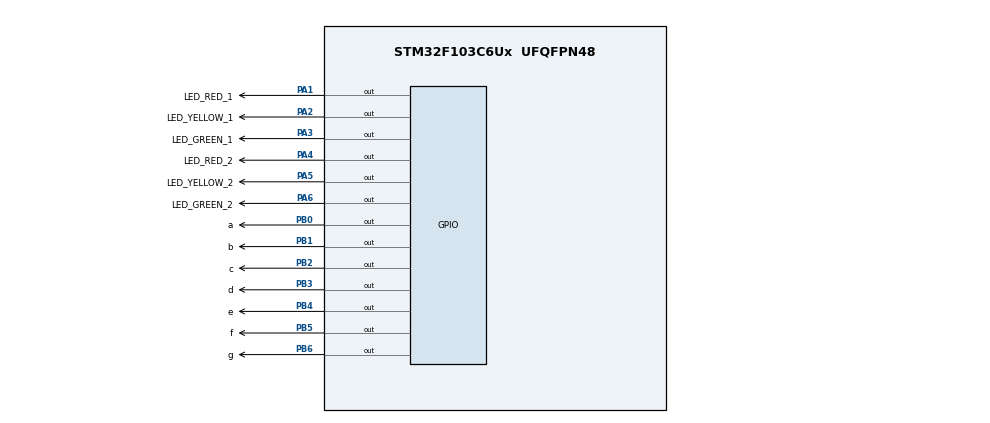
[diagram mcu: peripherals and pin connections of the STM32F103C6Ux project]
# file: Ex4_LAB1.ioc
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Mcu.Family=STM32F1
Mcu.Name=STM32F103C6Ux
Mcu.Package=UFQFPN48
NVIC.PriorityGroup=NVIC_PRIORITYGROUP_4
PA1.GPIO_Label=LED_RED_1
PA1.Signal=GPIO_Output
PA2.GPIO_Label=LED_YELLOW_1
PA2.Signal=GPIO_Output
PA3.GPIO_Label=LED_GREEN_1
PA3.Signal=GPIO_Output
PA4.GPIO_Label=LED_RED_2
PA4.Signal=GPIO_Output
PA5.GPIO_Label=LED_YELLOW_2
PA5.Signal=GPIO_Output
PA6.GPIO_Label=LED_GREEN_2
PA6.Signal=GPIO_Output
PB0.GPIO_Label=a
PB0.Signal=GPIO_Output
PB1.GPIO_Label=b
PB1.Signal=GPIO_Output
PB2.GPIO_Label=c
PB2.Signal=GPIO_Output
PB3.GPIO_Label=d
PB3.Signal=GPIO_Output
PB4.GPIO_Label=e
PB4.Signal=GPIO_Output
PB5.GPIO_Label=f
PB5.Signal=GPIO_Output
PB6.GPIO_Label=g
PB6.Signal=GPIO_Output
ProjectManager.HeapSize=0x200
ProjectManager.StackSize=0x400
ProjectManager.TargetToolchain=STM32CubeIDE
RCC.APB1Freq_Value=8000000
RCC.APB2Freq_Value=8000000
VP_SYS_VS_ND.Mode=No_Debug
board=custom

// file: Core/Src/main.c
/* USER CODE BEGIN Header */
/**
  ******************************************************************************
  * @file           : main.c
  * @brief          : Main program body
  ******************************************************************************
  * @attention
  *
  * <h2><center>&copy; Copyright (c) 2022 STMicroelectronics.
  * All rights reserved.</center></h2>
  *
  * This software component is licensed by ST under BSD 3-Clause license,
  * the "License"; You may not use this file except in compliance with the
  * License. You may obtain a copy of the License at:
  *                        opensource.org/licenses/BSD-3-Clause
  *
  ******************************************************************************
  */
/* USER CODE END Header */
#include "main.h"

/* USER CODE BEGIN PD */
#define setCounterRed 5
#define setCounterGreen 3
#define setCounterYellow 2
#define threshold 0
/* USER CODE END PD */

void SystemClock_Config(void);
static void MX_GPIO_Init(void);

/* USER CODE BEGIN 0 */
void display7SEG1 (int num){
	switch (num){
		case 0:
			HAL_GPIO_WritePin(a_GPIO_Port, a_Pin, RESET);
			HAL_GPIO_WritePin(b_GPIO_Port, b_Pin, RESET);
			HAL_GPIO_WritePin(c_GPIO_Port, c_Pin, RESET);
			HAL_GPIO_WritePin(d_GPIO_Port, d_Pin, RESET);
			HAL_GPIO_WritePin(e_GPIO_Port, e_Pin, RESET);
			HAL_GPIO_WritePin(f_GPIO_Port, f_Pin, RESET);
			HAL_GPIO_WritePin(g_GPIO_Port, g_Pin, SET);
			break;
		case 1:
			HAL_GPIO_WritePin(a_GPIO_Port, a_Pin, SET);
			HAL_GPIO_WritePin(b_GPIO_Port, b_Pin, RESET);
			HAL_GPIO_WritePin(c_GPIO_Port, c_Pin, RESET);
			HAL_GPIO_WritePin(d_GPIO_Port, d_Pin, SET);
			HAL_GPIO_WritePin(e_GPIO_Port, e_Pin, SET);
			HAL_GPIO_WritePin(f_GPIO_Port, f_Pin, SET);
			HAL_GPIO_WritePin(g_GPIO_Port, g_Pin, SET);
			break;
		case 2:
			HAL_GPIO_WritePin(a_GPIO_Port, a_Pin, RESET);
			HAL_GPIO_WritePin(b_GPIO_Port, b_Pin, RESET);
			HAL_GPIO_WritePin(c_GPIO_Port, c_Pin, SET);
			HAL_GPIO_WritePin(d_GPIO_Port, d_Pin, RESET);
			HAL_GPIO_WritePin(e_GPIO_Port, e_Pin, RESET);
			HAL_GPIO_WritePin(f_GPIO_Port, f_Pin, SET);
			HAL_GPIO_WritePin(g_GPIO_Port, g_Pin, RESET);
			break;
		case 3:
			HAL_GPIO_WritePin(a_GPIO_Port, a_Pin, RESET);
			HAL_GPIO_WritePin(b_GPIO_Port, b_Pin, RESET);
			HAL_GPIO_WritePin(c_GPIO_Port, c_Pin, RESET);
			HAL_GPIO_WritePin(d_GPIO_Port, d_Pin, RESET);
			HAL_GPIO_WritePin(e_GPIO_Port, e_Pin, SET);
			HAL_GPIO_WritePin(f_GPIO_Port, f_Pin, SET);
			HAL_GPIO_WritePin(g_GPIO_Port, g_Pin, RESET);
			break;
		case 4:
			HAL_GPIO_WritePin(a_GPIO_Port, a_Pin, SET);
			HAL_GPIO_WritePin(b_GPIO_Port, b_Pin, RESET);
			HAL_GPIO_WritePin(c_GPIO_Port, c_Pin, RESET);
			HAL_GPIO_WritePin(d_GPIO_Port, d_Pin, SET);
			HAL_GPIO_WritePin(e_GPIO_Port, e_Pin, SET);
			HAL_GPIO_WritePin(f_GPIO_Port, f_Pin, RESET);
			HAL_GPIO_WritePin(g_GPIO_Port, g_Pin, RESET);
			break;
		case 5:
			HAL_GPIO_WritePin(a_GPIO_Port, a_Pin, RESET);
			HAL_GPIO_WritePin(b_GPIO_Port, b_Pin, SET);
			HAL_GPIO_WritePin(c_GPIO_Port, c_Pin, RESET);
			HAL_GPIO_WritePin(d_GPIO_Port, d_Pin, RESET);
			HAL_GPIO_WritePin(e_GPIO_Port, e_Pin, SET);
			HAL_GPIO_WritePin(f_GPIO_Port, f_Pin, RESET);
			HAL_GPIO_WritePin(g_GPIO_Port, g_Pin, RESET);
			break;
		default:
			break;
	}
}

void enableRed1 (void){
	HAL_GPIO_WritePin(LED_RED_1_GPIO_Port, LED_RED_1_Pin, GPIO_PIN_RESET);
	HAL_GPIO_WritePin(LED_YELLOW_1_GPIO_Port, LED_YELLOW_1_Pin, GPIO_PIN_SET);
	HAL_GPIO_WritePin(LED_GREEN_1_GPIO_Port, LED_GREEN_1_Pin, GPIO_PIN_SET);
}

void enableYellow1 (void){
	HAL_GPIO_WritePin(LED_RED_1_GPIO_Port, LED_RED_1_Pin, GPIO_PIN_SET);
	HAL_GPIO_WritePin(LED_YELLOW_1_GPIO_Port, LED_YELLOW_1_Pin, GPIO_PIN_RESET);
	HAL_GPIO_WritePin(LED_GREEN_1_GPIO_Port, LED_GREEN_1_Pin, GPIO_PIN_SET);
}

void enableGreen1 (void){
	HAL_GPIO_WritePin(LED_RED_1_GPIO_Port, LED_RED_1_Pin, GPIO_PIN_SET);
	HAL_GPIO_WritePin(LED_YELLOW_1_GPIO_Port, LED_YELLOW_1_Pin, GPIO_PIN_SET);
	HAL_GPIO_WritePin(LED_GREEN_1_GPIO_Port, LED_GREEN_1_Pin, GPIO_PIN_RESET);
}

void enableRed2 (void){
	HAL_GPIO_WritePin(LED_RED_2_GPIO_Port, LED_RED_2_Pin, GPIO_PIN_RESET);
	HAL_GPIO_WritePin(LED_YELLOW_2_GPIO_Port, LED_YELLOW_2_Pin, GPIO_PIN_SET);
	HAL_GPIO_WritePin(LED_GREEN_2_GPIO_Port, LED_GREEN_2_Pin, GPIO_PIN_SET);
}

void enableYellow2 (void){
	HAL_GPIO_WritePin(LED_RED_2_GPIO_Port, LED_RED_2_Pin, GPIO_PIN_SET);
	HAL_GPIO_WritePin(LED_YELLOW_2_GPIO_Port, LED_YELLOW_2_Pin, GPIO_PIN_RESET);
	HAL_GPIO_WritePin(LED_GREEN_2_GPIO_Port, LED_GREEN_2_Pin, GPIO_PIN_SET);
}

void enableGreen2 (void){
	HAL_GPIO_WritePin(LED_RED_2_GPIO_Port, LED_RED_2_Pin, GPIO_PIN_SET);
	HAL_GPIO_WritePin(LED_YELLOW_2_GPIO_Port, LED_YELLOW_2_Pin, GPIO_PIN_SET);
	HAL_GPIO_WritePin(LED_GREEN_2_GPIO_Port, LED_GREEN_2_Pin, GPIO_PIN_RESET);
}

int enableTerm_Green2 (int value){
	if (value >= setCounterGreen) return 1;
	return 0;
}

int enableTerm_Yellow2 (int value){
	if (value <= setCounterYellow) return 1;
	return 0;
}
/* USER CODE END 0 */

int main(void)
{

  /* MCU Configuration--------------------------------------------------------*/

  /* Reset of all peripherals, Initializes the Flash interface and the Systick. */
  HAL_Init();

  /* Configure the system clock */
  SystemClock_Config();

  /* Initialize all configured peripherals */
  MX_GPIO_Init();

  /* Infinite loop */
  /* USER CODE BEGIN WHILE */
  enum displayState {state0, state1, state2};
  enum displayState status = state0;

  // For West-East Direction:
  // status = 0 -> Red1:on, Yellow1: off, Green1: off
  // status = 1 -> Red1:off, Yellow1: off, Green1: on
  // status = 2 -> Red1:off, Yellow1: on, Green1: off

  // For North-South Direction:
  // status = 0 -> Red2:off, Green2: on(3s) -> Yellow2: on(2s),
  // status = 1 -> Red2:on, Yellow2: off, Green2: off
  // status = 2 -> Red2:on, Yellow2: off, Green2: off

  static int counterRED = setCounterRed;
  static int counterYellow = setCounterYellow;
  static int counterGreen = setCounterGreen;

  while (1)
  {
	  switch (status){
			case state0:
				{
					//West-East Direction
					enableRed1();

					// Countdown number for W-E when red led on is the same as counterRED
					display7SEG1(counterRED);

					if (enableTerm_Green2(counterRED)==1){
						//North-South Direction
						enableGreen2();
					}

					if (enableTerm_Yellow2(counterRED)==1){
						//North-South Direction
						enableYellow2();
					}

					counterRED--;
					if (counterRED == threshold){
						counterRED = setCounterRed;
						status = state1;
					}
				}
				break;

			case state1:
				{
					//West-East Direction
					enableGreen1();

					//Countdown number in W-E when green led on is same as counterGreen
					display7SEG1(counterGreen);

					//North-South Direction
					enableRed2();

					counterGreen--;
					if (counterGreen == threshold){
						counterGreen = setCounterGreen;
						status = state2;
					}
				}
				break;

			case state2:
				{
					//West-East Direction
					enableYellow1();

					//Countdown number for W-E when yellow led on is same as counterYellow
					display7SEG1(counterYellow);

					//North-South Direction
					enableRed2();

					counterYellow--;
					if (counterYellow == threshold){
						counterYellow = setCounterYellow;
						status = state0;
					}
				}
				break;
			default:
				break;
	  }
	  HAL_Delay(1000);
    /* USER CODE END WHILE */

    /* USER CODE BEGIN 3 */
  }
}

void SystemClock_Config(void)
{
  RCC_OscInitTypeDef RCC_OscInitStruct = {0};
  RCC_ClkInitTypeDef RCC_ClkInitStruct = {0};

  /** Initializes the RCC Oscillators according to the specified parameters
  * in the RCC_OscInitTypeDef structure.
  */
  RCC_OscInitStruct.OscillatorType = RCC_OSCILLATORTYPE_HSI;
  RCC_OscInitStruct.HSIState = RCC_HSI_ON;
  RCC_OscInitStruct.HSICalibrationValue = RCC_HSICALIBRATION_DEFAULT;
  RCC_OscInitStruct.PLL.PLLState = RCC_PLL_NONE;
  if (HAL_RCC_OscConfig(&RCC_OscInitStruct) != HAL_OK)
  {
    Error_Handler();
  }
  /** Initializes the CPU, AHB and APB buses clocks
  */
  RCC_ClkInitStruct.ClockType = RCC_CLOCKTYPE_HCLK|RCC_CLOCKTYPE_SYSCLK
                              |RCC_CLOCKTYPE_PCLK1|RCC_CLOCKTYPE_PCLK2;
  RCC_ClkInitStruct.SYSCLKSource = RCC_SYSCLKSOURCE_HSI;
  RCC_ClkInitStruct.AHBCLKDivider = RCC_SYSCLK_DIV1;
  RCC_ClkInitStruct.APB1CLKDivider = RCC_HCLK_DIV1;
  RCC_ClkInitStruct.APB2CLKDivider = RCC_HCLK_DIV1;

  if (HAL_RCC_ClockConfig(&RCC_ClkInitStruct, FLASH_LATENCY_0) != HAL_OK)
  {
    Error_Handler();
  }
}

static void MX_GPIO_Init(void)
{
  GPIO_InitTypeDef GPIO_InitStruct = {0};

  /* GPIO Ports Clock Enable */
  __HAL_RCC_GPIOA_CLK_ENABLE();
  __HAL_RCC_GPIOB_CLK_ENABLE();

  /*Configure GPIO pin Output Level */
  HAL_GPIO_WritePin(GPIOA, LED_RED_1_Pin|LED_YELLOW_1_Pin|LED_GREEN_1_Pin|LED_RED_2_Pin
                          |LED_YELLOW_2_Pin|LED_GREEN_2_Pin, GPIO_PIN_RESET);

  /*Configure GPIO pin Output Level */
  HAL_GPIO_WritePin(GPIOB, a_Pin|b_Pin|c_Pin|d_Pin
                          |e_Pin|f_Pin|g_Pin, GPIO_PIN_RESET);

  /*Configure GPIO pins : LED_RED_1_Pin LED_YELLOW_1_Pin LED_GREEN_1_Pin LED_RED_2_Pin
                           LED_YELLOW_2_Pin LED_GREEN_2_Pin */
  GPIO_InitStruct.Pin = LED_RED_1_Pin|LED_YELLOW_1_Pin|LED_GREEN_1_Pin|LED_RED_2_Pin
                          |LED_YELLOW_2_Pin|LED_GREEN_2_Pin;
  GPIO_InitStruct.Mode = GPIO_MODE_OUTPUT_PP;
  GPIO_InitStruct.Pull = GPIO_NOPULL;
  GPIO_InitStruct.Speed = GPIO_SPEED_FREQ_LOW;
  HAL_GPIO_Init(GPIOA, &GPIO_InitStruct);

  /*Configure GPIO pins : a_Pin b_Pin c_Pin d_Pin
                           e_Pin f_Pin g_Pin */
  GPIO_InitStruct.Pin = a_Pin|b_Pin|c_Pin|d_Pin
                          |e_Pin|f_Pin|g_Pin;
  GPIO_InitStruct.Mode = GPIO_MODE_OUTPUT_PP;
  GPIO_InitStruct.Pull = GPIO_NOPULL;
  GPIO_InitStruct.Speed = GPIO_SPEED_FREQ_LOW;
  HAL_GPIO_Init(GPIOB, &GPIO_InitStruct);

}

void Error_Handler(void)
{
  __disable_irq();
  while (1)
  {
  }
}

/************************ (C) COPYRIGHT STMicroelectronics *****END OF FILE****/
